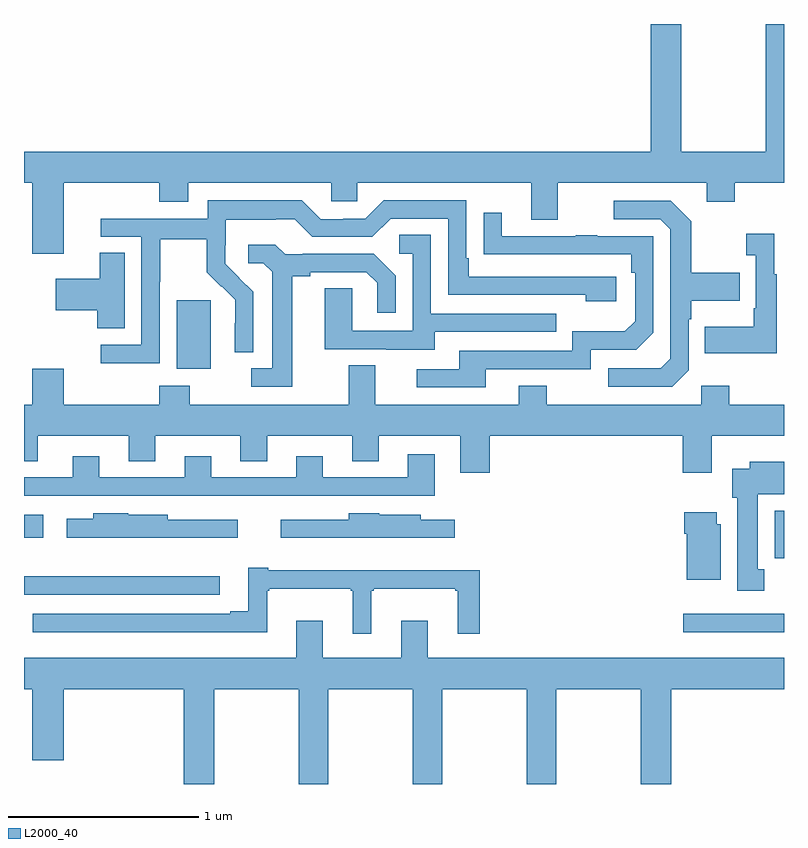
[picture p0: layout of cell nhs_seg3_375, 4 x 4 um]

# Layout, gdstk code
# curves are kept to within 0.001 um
import gdstk
lib = gdstk.Library(unit=1e-6, precision=1e-09)
def R(c, l, rs):  # rectangles x0, y0, x1, y1
    for r in rs: c.add(gdstk.rectangle(r[:2], r[2:], *l))
def P(c, l, *ps):  # polygons
    for p in ps: c.add(gdstk.Polygon(p, *l))
L2000_40 = (2000, 40)

nhs_seg3_375 = lib.new_cell('nhs_seg3_375')
R(nhs_seg3_375, L2000_40, [(132.471,717.2,133,717.297), (129,717.396,130.03,717.494), (132.951,717.588,133,717.838), (129,717.695,129.102,717.817), (129.803,718.586,129.982,718.947)])
P(nhs_seg3_375, L2000_40, [(129.208,719.564),(129.713,719.564),(129.713,719.465),(129.865,719.465),(129.865,719.564),(130.617,719.564),(130.617,719.466),(130.755,719.466),(130.755,719.564),(131.669,719.564),(131.669,719.37),(131.809,719.37),(131.809,719.564),(132.593,719.564),(132.593,719.465),(132.741,719.465),(132.741,719.564),(133,719.564),(133,720.4),(132.904,720.4),(132.904,719.728),(132.459,719.728),(132.459,720.4),(132.299,720.4),(132.299,719.728),(129,719.728),(129,719.564),(129.044,719.564),(129.044,719.19),(129.208,719.19)],
  [(129.714,719.044),(129.717,719.044),(129.717,719.268),(129.961,719.268),(129.961,719.093),(130.038,719.016),(130.041,719.019),(130.112,718.949),(130.112,718.826),(130.11,718.826),(130.11,718.672),(130.206,718.672),(130.206,718.99),(130.06,719.138),(130.06,719.235),(130.062,719.235),(130.062,719.369),(130.325,719.369),(130.325,719.373),(130.425,719.373),(130.518,719.28),(130.833,719.28),(130.929,719.376),(131.232,719.376),(131.232,718.974),(131.957,718.974),(131.957,718.94),(132.118,718.94),(132.118,719.07),(131.341,719.07),(131.341,719.167),(131.328,719.167),(131.328,719.472),(130.893,719.472),(130.797,719.376),(130.679,719.376),(130.679,719.373),(130.563,719.373),(130.463,719.473),(129.966,719.473),(129.966,719.376),(129.405,719.376),(129.405,719.28),(129.618,719.28),(129.618,718.713),(129.405,718.713),(129.405,718.615),(129.714,718.615)],
  [(132.498,718.578),(132.498,718.847),(132.511,718.847),(132.511,718.943),(132.767,718.943),(132.767,719.091),(132.511,719.091),(132.511,719.363),(132.405,719.469),(132.105,719.469),(132.105,719.373),(132.348,719.373),(132.402,719.319),(132.402,718.638),(132.351,718.587),(132.075,718.587),(132.075,718.491),(132.411,718.491)],
  [(131.431,718.584),(131.982,718.584),(131.982,718.686),(132.222,718.686),(132.312,718.776),(132.312,719.283),(132.017,719.283),(132.017,719.288),(131.905,719.288),(131.905,719.283),(131.515,719.283),(131.515,719.407),(131.419,719.407),(131.419,719.188),(132.196,719.187),(132.196,719.09),(132.216,719.09),(132.216,718.836),(132.163,718.783),(131.886,718.783),(131.886,718.68),(131.291,718.68),(131.291,718.584),(131.067,718.584),(131.067,718.488),(131.431,718.488)],
  [(132.961,719.083),(132.949,719.083),(132.949,719.296),(132.801,719.296),(132.801,719.183),(132.852,719.183),(132.852,718.903),(132.84,718.903),(132.84,718.807),(132.583,718.807),(132.583,718.667),(132.961,718.667)],
  [(131.161,718.779),(131.801,718.779),(131.801,718.875),(131.142,718.875),(131.142,719.291),(130.974,719.291),(130.974,719.19),(131.046,719.19),(131.046,718.785),(130.728,718.785),(130.728,719.009),(130.583,719.009),(130.583,718.689),(130.907,718.689),(130.907,718.685),(131.161,718.685)],
  [(130.411,719.072),(130.507,719.072),(130.507,719.094),(130.802,719.094),(130.859,719.037),(130.859,718.881),(130.956,718.881),(130.956,719.074),(130.84,719.19),(130.468,719.19),(130.468,719.187),(130.374,719.187),(130.322,719.239),(130.179,719.239),(130.179,719.142),(130.26,719.142),(130.307,719.095),(130.307,718.587),(130.197,718.587),(130.197,718.491),(130.411,718.491)],
  [(129.529,719.195),(129.398,719.195),(129.398,719.059),(129.168,719.059),(129.168,718.894),(129.386,718.894),(129.386,718.798),(129.529,718.798)],
  [(131.45,718.232),(132.467,718.232),(132.467,718.038),(132.619,718.038),(132.619,718.232),(133,718.232),(133,718.396),(132.711,718.396),(132.711,718.495),(132.564,718.495),(132.564,718.396),(131.751,718.396),(131.751,718.495),(131.603,718.495),(131.603,718.396),(130.849,718.396),(130.849,718.604),(130.709,718.604),(130.709,718.396),(129.873,718.396),(129.873,718.495),(129.713,718.495),(129.713,718.396),(129.208,718.396),(129.208,718.585),(129.044,718.585),(129.044,718.396),(129,718.396),(129,718.099),(129.073,718.099),(129.073,718.232),(129.551,718.232),(129.551,718.099),(129.691,718.099),(129.691,718.232),(130.139,718.232),(130.139,718.099),(130.279,718.099),(130.279,718.232),(130.727,718.232),(130.727,718.099),(130.867,718.099),(130.867,718.232),(131.297,718.232),(131.297,718.038),(131.45,718.038)],
  [(131.161,718.135),(131.021,718.135),(131.021,718.014),(130.573,718.014),(130.573,718.126),(130.433,718.126),(130.433,718.014),(129.985,718.014),(129.985,718.126),(129.845,718.126),(129.845,718.014),(129.397,718.014),(129.397,718.126),(129.257,718.126),(129.257,718.014),(129,718.014),(129,717.918),(131.161,717.918)],
  [(132.895,717.529),(132.862,717.529),(132.862,717.926),(133,717.926),(133,718.096),(132.821,718.096),(132.821,718.06),(132.728,718.06),(132.728,717.906),(132.755,717.906),(132.755,717.417),(132.895,717.417)],
  [(132.667,717.768),(132.646,717.768),(132.646,717.829),(132.476,717.829),(132.476,717.716),(132.488,717.716),(132.488,717.476),(132.667,717.476)],
  [(131.266,717.792),(131.088,717.792),(131.088,717.817),(130.869,717.817),(130.869,717.826),(130.709,717.826),(130.709,717.792),(130.352,717.792),(130.352,717.695),(131.266,717.695)],
  [(130.126,717.792),(129.756,717.792),(129.756,717.817),(129.549,717.817),(129.549,717.826),(129.365,717.826),(129.365,717.796),(129.225,717.796),(129.225,717.695),(130.126,717.695)],
  [(130.828,717.417),(130.84,717.417),(130.84,717.428),(131.271,717.428),(131.271,717.417),(131.282,717.417),(131.282,717.192),(131.399,717.192),(131.399,717.526),(130.285,717.526),(130.285,717.538),(130.181,717.538),(130.181,717.31),(130.085,717.31),(130.085,717.297),(129.045,717.297),(129.045,717.2),(130.279,717.2),(130.279,717.417),(130.291,717.417),(130.291,717.428),(130.719,717.428),(130.719,717.417),(130.73,717.417),(130.73,717.192),(130.828,717.192)],
  [(131.047,716.4),(131.202,716.4),(131.202,716.9),(131.647,716.9),(131.647,716.4),(131.802,716.4),(131.802,716.9),(132.247,716.9),(132.247,716.4),(132.407,716.4),(132.407,716.9),(133,716.9),(133,717.064),(131.125,717.064),(131.125,717.259),(130.985,717.259),(130.985,717.064),(130.573,717.064),(130.573,717.259),(130.433,717.259),(130.433,717.064),(129,717.064),(129,716.9),(129.044,716.9),(129.044,716.526),(129.208,716.526),(129.208,716.9),(129.842,716.9),(129.842,716.4),(130.002,716.4),(130.002,716.9),(130.447,716.9),(130.447,716.4),(130.602,716.4),(130.602,716.9),(131.047,716.9)])

lib.write_gds('nhs_seg3_375.gds')
